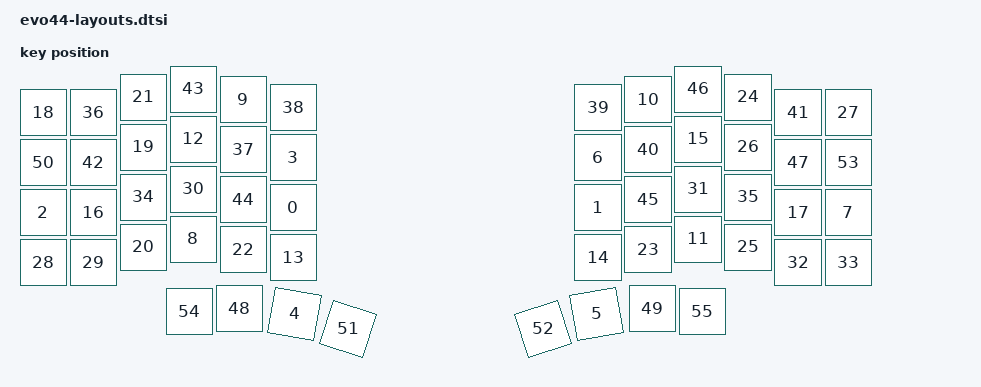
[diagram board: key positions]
#include <physical_layouts.dtsi>

/ {
    physical_layout0: physical_layout0 {
        compatible = "zmk,physical-layout";
        display-name = "Default Layout";

        kscan = <&kscan0>;
        transform = <&matrix_transform0>;

        keys  //                     w   h    x    y     rot    rx    ry
            = <&key_physical_attrs 100 100  500  237       0     0     0>
            , <&key_physical_attrs 100 100 1110  237       0     0     0>
            , <&key_physical_attrs 100 100    0  247       0     0     0>
            , <&key_physical_attrs 100 100  500  137       0     0     0>
            , <&key_physical_attrs 100 100  503  450    1000   553   500>
            , <&key_physical_attrs 100 100 1107  450 (-1000)  1157   500>
            , <&key_physical_attrs 100 100 1110  137       0     0     0>
            , <&key_physical_attrs 100 100 1610  247       0     0     0>
            , <&key_physical_attrs 100 100  300  300       0     0     0>
            , <&key_physical_attrs 100 100  400   21       0     0     0>
            , <&key_physical_attrs 100 100 1210   21       0     0     0>
            , <&key_physical_attrs 100 100 1310  300       0     0     0>
            , <&key_physical_attrs 100 100  300  100       0     0     0>
            , <&key_physical_attrs 100 100  500  337       0     0     0>
            , <&key_physical_attrs 100 100 1110  337       0     0     0>
            , <&key_physical_attrs 100 100 1310  100       0     0     0>
            , <&key_physical_attrs 100 100  100  247       0     0     0>
            , <&key_physical_attrs 100 100 1510  247       0     0     0>
            , <&key_physical_attrs 100 100    0   47       0     0     0>
            , <&key_physical_attrs 100 100  200  116       0     0     0>
            , <&key_physical_attrs 100 100  200  316       0     0     0>
            , <&key_physical_attrs 100 100  200   16       0     0     0>
            , <&key_physical_attrs 100 100  400  321       0     0     0>
            , <&key_physical_attrs 100 100 1210  321       0     0     0>
            , <&key_physical_attrs 100 100 1410   16       0     0     0>
            , <&key_physical_attrs 100 100 1410  316       0     0     0>
            , <&key_physical_attrs 100 100 1410  116       0     0     0>
            , <&key_physical_attrs 100 100 1610   47       0     0     0>
            , <&key_physical_attrs 100 100    0  347       0     0     0>
            , <&key_physical_attrs 100 100  100  347       0     0     0>
            , <&key_physical_attrs 100 100  300  200       0     0     0>
            , <&key_physical_attrs 100 100 1310  200       0     0     0>
            , <&key_physical_attrs 100 100 1510  347       0     0     0>
            , <&key_physical_attrs 100 100 1610  347       0     0     0>
            , <&key_physical_attrs 100 100  200  216       0     0     0>
            , <&key_physical_attrs 100 100 1410  216       0     0     0>
            , <&key_physical_attrs 100 100  100   47       0     0     0>
            , <&key_physical_attrs 100 100  400  121       0     0     0>
            , <&key_physical_attrs 100 100  500   37       0     0     0>
            , <&key_physical_attrs 100 100 1110   37       0     0     0>
            , <&key_physical_attrs 100 100 1210  121       0     0     0>
            , <&key_physical_attrs 100 100 1510   47       0     0     0>
            , <&key_physical_attrs 100 100  100  147       0     0     0>
            , <&key_physical_attrs 100 100  300    0       0     0     0>
            , <&key_physical_attrs 100 100  400  221       0     0     0>
            , <&key_physical_attrs 100 100 1210  221       0     0     0>
            , <&key_physical_attrs 100 100 1310    0       0     0     0>
            , <&key_physical_attrs 100 100 1510  147       0     0     0>
            , <&key_physical_attrs 100 100  392  439       0     0     0>
            , <&key_physical_attrs 100 100 1218  439       0     0     0>
            , <&key_physical_attrs 100 100    0  147       0     0     0>
            , <&key_physical_attrs 100 100  610  480    1800   660   530>
            , <&key_physical_attrs 100 100 1000  480 (-1800)  1050   530>
            , <&key_physical_attrs 100 100 1610  147       0     0     0>
            , <&key_physical_attrs 100 100  292  445       0     0     0>
            , <&key_physical_attrs 100 100 1318  445       0     0     0>
            ;
    };
};
